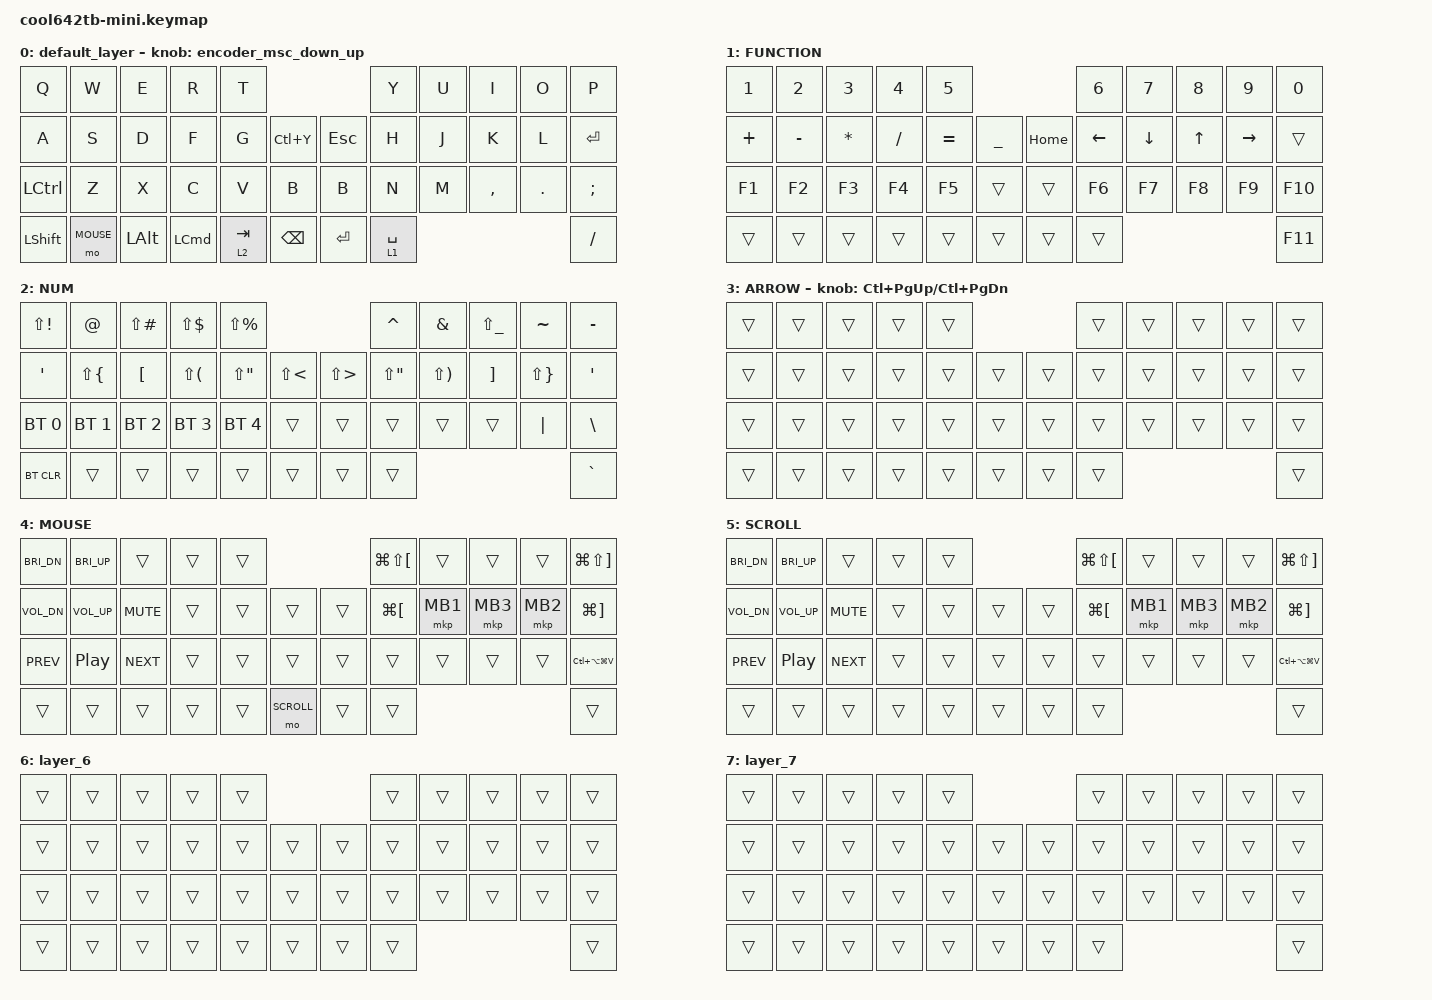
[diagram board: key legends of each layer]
#include <behaviors.dtsi>
#include <dt-bindings/zmk/bt.h>
#include <dt-bindings/zmk/keys.h>
#include <dt-bindings/zmk/pointing.h>

#define MOUSE 4
#define SCROLL 5
#define NUM 6
#define ZMK_POINTING_DEFAULT_SCRL_VAL 120

&mt {
    flavor = "balanced";
    quick-tap-ms = <0>;
};

/ {
    combos {
        compatible = "zmk,combos";

        shift_tab {
            bindings = <&kp LANG2>;
            key-positions = <12 13>;
        };

        lang {
            bindings = <&kp LANG1>;
            key-positions = <18 19>;
        };
    };

    behaviors {
        encoder_msc_down_up: encoder_msc_down_up {
            compatible = "zmk,behavior-sensor-rotate";
            label = "ENCODER_MSC_DOWN_UP";
            #sensor-binding-cells = <0>;
            bindings = <&msc SCRL_UP>, <&msc SCRL_DOWN>;

            tap-ms = <20>;
        };
    };

    keymap {
        compatible = "zmk,keymap";

        default_layer {
            bindings = <
&kp Q       &kp W         &kp E             &kp R             &kp T                                            &kp Y        &kp U  &kp I      &kp O    &kp P
&kp A       &kp S         &kp D             &kp F             &kp G            &kp LC(Y)      &kp ESC          &kp H        &kp J  &kp K      &kp L    &kp ENTER
&kp LCTRL   &kp Z         &kp X             &kp C             &kp V            &kp B          &kp B            &kp N        &kp M  &kp COMMA  &kp DOT  &kp SEMICOLON
&kp LSHIFT  &mo MOUSE     &kp LEFT_ALT      &kp LEFT_COMMAND  &lt 2 TAB        &kp BACKSPACE    &kp ENTER      &lt 1 SPACE                               &kp SLASH
            >;

            sensor-bindings = <&encoder_msc_down_up>;
        };

        FUNCTION {
            bindings = <
&kp N1    &kp N2     &kp N3     &kp N4     &kp N5                              &kp N6     &kp N7    &kp N8    &kp N9        &kp N0
&kp PLUS  &kp MINUS  &kp ASTRK  &kp SLASH  &kp EQUAL  &kp UNDER      &kp HOME  &kp LEFT   &kp DOWN  &kp UP    &kp RIGHT     &trans
&kp F1    &kp F2     &kp F3     &kp F4     &kp F5     &trans         &trans    &kp F6     &kp F7    &kp F8    &kp F9        &kp F10
&trans    &trans     &trans     &trans     &trans     &trans         &trans    &trans                                       &kp F11
            >;
        };

        NUM {
            bindings = <
&kp LS(EXCL)  &kp AT        &kp LS(POUND)  &kp LS(DLLR)  &kp LS(PRCNT)                              &kp CARET    &kp AMPERSAND  &kp LS(UNDER)  &kp TILDE     &kp MINUS
&kp SQT       &kp LS(LBRC)  &kp LBKT       &kp LS(LPAR)  &kp LS(DQT)    &kp LS(LT)      &kp LS(GT)  &kp LS(DQT)  &kp LS(RPAR)   &kp RBKT       &kp LS(RBRC)  &kp SQT
&bt BT_SEL 0  &bt BT_SEL 1  &bt BT_SEL 2   &bt BT_SEL 3  &bt BT_SEL 4   &trans          &trans      &trans       &trans         &trans         &kp PIPE      &kp BACKSLASH
&bt BT_CLR    &trans        &trans         &trans        &trans         &trans          &trans      &trans                                                   &kp GRAVE
            >;
        };

        ARROW {
            bindings = <
&trans  &trans  &trans  &trans  &trans                      &trans  &trans  &trans  &trans  &trans
&trans  &trans  &trans  &trans  &trans  &trans      &trans  &trans  &trans  &trans  &trans  &trans
&trans  &trans  &trans  &trans  &trans  &trans      &trans  &trans  &trans  &trans  &trans  &trans
&trans  &trans  &trans  &trans  &trans  &trans      &trans  &trans                          &trans
            >;

            sensor-bindings = <&inc_dec_kp LC(PAGE_UP) LC(PAGE_DOWN)>;
        };

        MOUSE {
            bindings = <
&kp C_BRI_DN  &kp C_BRI_UP  &trans  &trans  &trans                      &kp LG(LS(LBKT))  &trans    &trans    &trans    &kp LG(LS(RBKT))
&kp C_VOL_DN  &kp C_VOL_UP  &kp C_MUTE  &trans  &trans  &trans      &trans  &kp LG(LBKT)      &mkp MB1  &mkp MB3  &mkp MB2  &kp LG(RBKT)
&kp C_PREV    &kp C_PP      &kp C_NEXT  &trans  &trans  &trans      &trans  &trans            &trans    &trans    &trans    &kp LC(LA(LG(V)))
&trans        &trans        &trans      &trans  &trans  &mo SCROLL  &trans  &trans                                          &trans
            >;
        };

        SCROLL {
            bindings = <
&kp C_BRI_DN  &kp C_BRI_UP  &trans  &trans  &trans                      &kp LG(LS(LBKT))  &trans    &trans    &trans    &kp LG(LS(RBKT))
&kp C_VOL_DN  &kp C_VOL_UP  &kp C_MUTE  &trans  &trans  &trans      &trans  &kp LG(LBKT)      &mkp MB1  &mkp MB3  &mkp MB2  &kp LG(RBKT)
&kp C_PREV    &kp C_PP      &kp C_NEXT  &trans  &trans  &trans      &trans  &trans            &trans    &trans    &trans    &kp LC(LA(LG(V)))
&trans        &trans        &trans      &trans  &trans  &trans      &trans  &trans                                          &trans
            >;
        };

        layer_6 {
            bindings = <
&trans  &trans  &trans  &trans  &trans                      &trans  &trans  &trans  &trans  &trans
&trans  &trans  &trans  &trans  &trans  &trans      &trans  &trans  &trans  &trans  &trans  &trans
&trans  &trans  &trans  &trans  &trans  &trans      &trans  &trans  &trans  &trans  &trans  &trans
&trans  &trans  &trans  &trans  &trans  &trans      &trans  &trans                          &trans
            >;
        };

        layer_7 {
            bindings = <
&trans  &trans  &trans  &trans  &trans                      &trans  &trans  &trans  &trans  &trans
&trans  &trans  &trans  &trans  &trans  &trans      &trans  &trans  &trans  &trans  &trans  &trans
&trans  &trans  &trans  &trans  &trans  &trans      &trans  &trans  &trans  &trans  &trans  &trans
&trans  &trans  &trans  &trans  &trans  &trans      &trans  &trans                          &trans
            >;
        };
    };
};
